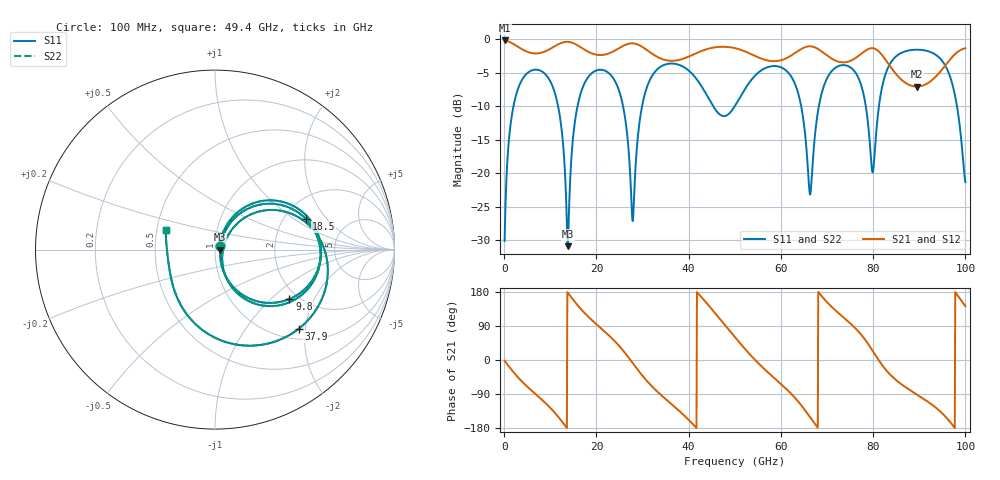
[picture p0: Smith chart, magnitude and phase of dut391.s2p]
! Touchstone file exported from HFSS 2026.1.0
!  File:  C:/ffzhzh/LocalFiles/Ansys_Project_Files/temp_train_TSV_RDL_391_1783718260_44652.aedt
!  Generated:  05:47:14 AM Jul 11, 2026
!  Design:  TSV_RDL
!  Project:  temp_train_TSV_RDL_391_1783718260_44652
! Variables:
!  h_bsmrdl = 4.79um
!  h_ox = 20um
!  h_rdl = 5um
!  h_sub = 64.2um
!  h_tmrdl = 2um
!  h_tsv = 64.2um
!  h_via = 3um
!  l_bsmrdl = 688.92um
!  l_sub = 4602.11um
!  l_tmrdl = 502.96um
!  m_sub = 200um
!  pitch = 50.93um
!  r_tsv = 8um
!  s_tmrdl = 10um
!  w_bsmrdl = 13.48um
!  w_sub = 500um
!  w_tmrdl = 27.69um
!  x_tsv_center1 = 516.805um
!  x_tsv_center2 = 1219.205um
!  x_tsv_center3 = 1749.855um
!  x_tsv_center4 = 2452.255um
!  x_tsv_center5 = 2982.905um
!  x_tsv_center6 = 3685.305um
# GHz S MA R 50.000000
! Terminal data exported
! Port[1] = TM_RDL1_1_T1
! Port[2] = TM_RDL5_1_T1
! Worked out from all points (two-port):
!   1000 points, 100 MHz to 100 GHz, reference 50 ohm
!   highest |S21| = -0.23 dB at 100 MHz (marker M1); lowest = -7.1 dB at 89.5 GHz (marker M2)
!   |S21| within 3 dB of the highest: start of sweep to 35.58 GHz; 37.14 GHz to 57.25 GHz (20.11 GHz wide, 42.6 % of centre) (the widest 2 of 5)
!   lowest |S11| = -30.8 dB at 13.8 GHz (marker M3), VSWR 1.06, Z = 53 + j0.00749 ohm
!   |S11| at or under -10 dB: 11.69 GHz to 15.91 GHz (4.212 GHz wide, 30.5 % of centre); 25.78 GHz to 29.9 GHz (4.128 GHz wide, 14.8 % of centre); 45.31 GHz to 50.01 GHz (4.704 GHz wide, 9.87 % of centre) (the widest 3 of 7)
!   |S22| runs from -30.9 to -1.6 dB; largest |S21 - S12| = 4.6e-13
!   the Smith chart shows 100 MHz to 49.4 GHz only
!   S11 on the Smith chart (normalised r, x): 100 MHz: 1.05, +0.04; 9.8 GHz: 1.80, -1.32; 18.5 GHz: 2.62, +1.25; 37.9 GHz: 1.22, -1.84; 49.4 GHz: 0.56, +0.13
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0.1  0.03139 34.1  0.9744 -1.7  0.9744 -1.7  0.03139 34.1
! Gamma 0 0 0 0
! Port Impedance 50 0 50 0
2.9  0.4151 41.4  0.8791 -44.4  0.8791 -44.4  0.4151 41.4
9.8  0.498 -33.6  0.8368 -123.7  0.8368 -123.7  0.498 -33.6
13.8  0.02869 0.1  0.9518 177.6  0.9518 177.6  0.02864 0.2
16.8  0.4139 38.1  0.8585 132.3  0.8585 132.3  0.4139 38.1
18.5  0.5348 18.6  0.7949 111.2  0.7949 111.2  0.5348 18.6
27.2  0.1165 -66.6  0.9242 3.1  0.9242 3.1  0.1166 -66.4
33.4  0.6026 1.9  0.7295 -85.6  0.7295 -85.6  0.6026 1.9
37.9  0.6418 -43.5  0.6973 -133.8  0.6973 -133.8  0.6418 -43.5
43.6  0.3995 -112.1  0.8329 154.4  0.8329 154.4  0.3996 -111.9
49.4  0.2946 158.3  0.8625 69.6  0.8625 69.6  0.2947 158.5
50.1  0.3199 147.3  0.8529 59.3  0.8529 59.3  0.32 147.5
54.3  0.5287 88.9  0.7499 1.5  0.7499 1.5  0.5288 89.0
60.9  0.5909 18.3  0.7118 -73.2  0.7118 -73.2  0.591 18.4
66.7  0.09403 64.6  0.8791 -157.3  0.8791 -157.3  0.09517 64.0
70  0.5087 57.0  0.7527 152.6  0.7527 152.6  0.5088 56.9
76.8  0.5134 -9.1  0.7462 75.4  0.7462 75.4  0.5134 -9.2
79.9  0.1013 22.7  0.8536 24.2  0.8536 24.2  0.1012 22.7
83.4  0.6288 47.6  0.6455 -34.8  0.6455 -34.8  0.6289 47.6
89.5  0.832 -1.4  0.4421 -91.2  0.4421 -91.2  0.832 -1.5
96.4  0.5565 -60.2  0.6846 -159.2  0.6846 -159.2  0.5564 -60.4
100  0.08596 -41.5  0.8526 141.7  0.8526 141.7  0.0842 -41.7
